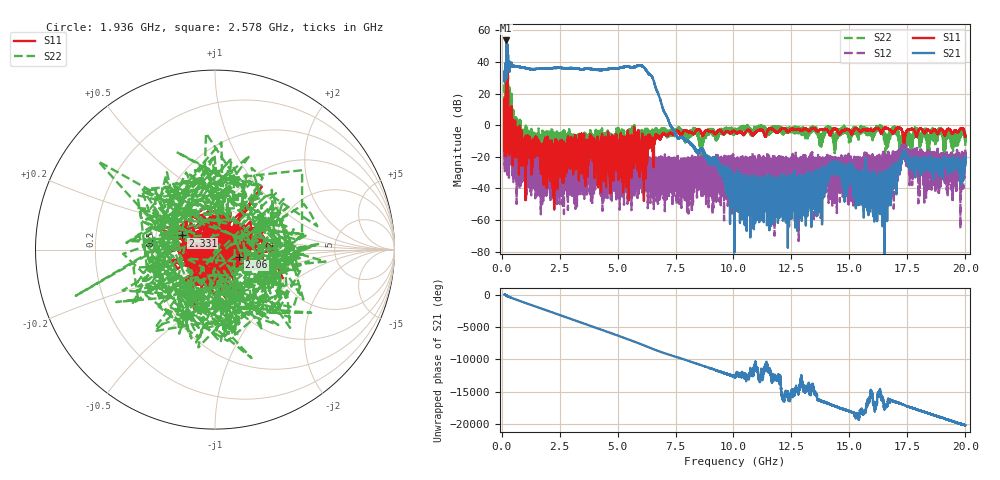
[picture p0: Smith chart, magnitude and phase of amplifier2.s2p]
!Created with skrf (http://scikit-rf.org).
# GHz S RI R 50.0
!freq ReS11 ImS11 ReS21 ImS21 ReS12 ImS12 ReS22 ImS22
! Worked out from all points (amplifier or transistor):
!   20013 points, 130 MHz to 20 GHz, reference 50 ohm
!   highest |S21| = 53.6 dB at 206 MHz (marker M1)
!   |S21| within 3 dB of that: 205.8305 MHz to 206.1709 MHz (340.4 kHz wide, 0.165 % of centre)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
!   unconditionally stable (mu >= 1): 7.08 GHz to 10.6 GHz; 11.19 GHz to 16.28 GHz; 16.28 GHz to end of sweep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
!   at 3.465 GHz: K = 0.83, MSG = 35.6 dB, |S12| = -36.0 dB
!   at 10.14 GHz: K = 650.05, MAG = -39.0 dB, |S12| = -26.7 dB
!   at 20 GHz: K = 30.75, MAG = -19.1 dB, |S12| = -18.4 dB
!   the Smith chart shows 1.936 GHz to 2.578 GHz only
!   S11 on the Smith chart (normalised r, x): 1.936 GHz: 0.89, +0.18; 2.06 GHz: 1.31, -0.11; 2.331 GHz: 0.68, +0.11; 2.578 GHz: 0.90, -0.21
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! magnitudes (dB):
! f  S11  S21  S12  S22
! 130 MHz  -14.9  28.2  -9.0  2.3
! 206 MHz  30.4  53.6  16.5  39.5
! 742 MHz  -13.2  36.9  -19.7  -10.0
! 1.936 GHz  -19.2  35.8  -24.8  -10.5
! 2.06 GHz  -17.0  35.8  -40.1  -8.2
! 2.331 GHz  -14.1  36.2  -22.9  -12.7
! 2.578 GHz  -18.4  36.2  -27.8  -10.0
! 3.442 GHz  -5.8  35.3  -24.1  -13.6
! 4.746 GHz  -15.1  36.0  -26.6  -11.8
! 5.649 GHz  -18.0  36.4  -34.0  -7.4
! 6.027 GHz  -13.0  37.6  -24.8  -7.2
! 6.754 GHz  -7.4  19.8  -31.3  -4.8
! 7.574 GHz  -3.7  -7.7  -27.9  -3.6
! 8.614 GHz  -4.9  -15.5  -28.5  -12.6
! 10.06 GHz  -4.2  -37.6  -23.8  -3.5
! 13.38 GHz  -2.1  -42.8  -27.2  -2.5
! 14.26 GHz  -3.6  -27.7  -28.4  -4.5
! 15.87 GHz  -2.7  -48.6  -25.5  -5.5
! 16.69 GHz  -2.5  -47.3  -29.4  -7.1
! 17.36 GHz  -10.6  -16.7  -15.4  -11.7
! 18.92 GHz  -2.7  -31.1  -31.7  -4.9
! 20 GHz  -7.2  -20.9  -18.4  -7.4
